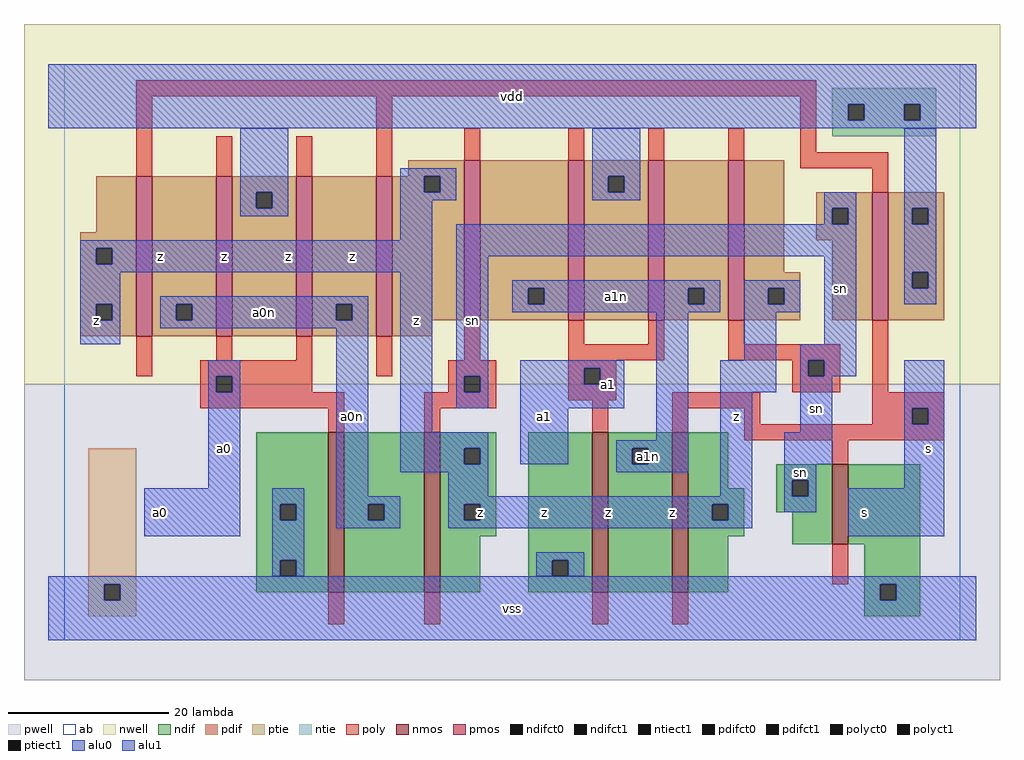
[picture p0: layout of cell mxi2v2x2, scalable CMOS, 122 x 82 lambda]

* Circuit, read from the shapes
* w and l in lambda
.subckt mxi2v2x2 a0 a0n a1 a1n s sn vdd vss z
M1 a0n a0 vss vss nfet w=20 l=2
M2 z sn a0n vss nfet w=20 l=2
M3 a1n a1 vss vss nfet w=20 l=2
M4 z s a1n vss nfet w=20 l=2
M5 vss s sn vss nfet w=10 l=2
M6 a0n s z vdd pfet w=20 l=2 m=2
M7 vdd a0 a0n vdd pfet w=20 l=2 m=2
M8 a1n sn z vdd pfet w=20 l=2 m=2
M9 vdd a1 a1n vdd pfet w=20 l=2 m=2
M10 vdd s sn vdd pfet w=16 l=2
.ends

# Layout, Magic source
magic
tech scmos
<< ab >>
rect 0 0 112 72
<< nwell >>
rect -5 32 117 77
<< pwell >>
rect -5 -5 117 32
<< poly >>
rect 9 68 94 70
rect 9 58 11 68
rect 19 58 21 63
rect 29 58 31 63
rect 39 58 41 68
rect 50 60 52 64
rect 63 60 65 64
rect 73 60 75 64
rect 83 60 85 64
rect 92 61 94 68
rect 92 59 103 61
rect 101 56 103 59
rect 9 33 11 38
rect 19 35 21 38
rect 29 35 31 38
rect 17 33 31 35
rect 39 33 41 38
rect 50 35 52 40
rect 63 37 65 40
rect 73 37 75 40
rect 63 35 75 37
rect 83 37 85 40
rect 83 35 97 37
rect 48 33 54 35
rect 17 31 19 33
rect 21 31 31 33
rect 48 31 50 33
rect 52 31 54 33
rect 17 29 35 31
rect 33 26 35 29
rect 45 29 54 31
rect 63 34 69 35
rect 63 32 65 34
rect 67 32 69 34
rect 63 30 69 32
rect 91 33 93 35
rect 95 33 97 35
rect 91 31 97 33
rect 101 31 103 40
rect 45 26 47 29
rect 66 26 68 30
rect 76 29 87 31
rect 76 26 78 29
rect 85 27 87 29
rect 101 29 110 31
rect 101 27 106 29
rect 108 27 110 29
rect 85 25 110 27
rect 96 22 98 25
rect 96 7 98 12
rect 33 2 35 6
rect 45 2 47 6
rect 66 2 68 6
rect 76 2 78 6
<< ndif >>
rect 24 17 33 26
rect 24 15 27 17
rect 29 15 33 17
rect 24 10 33 15
rect 24 8 27 10
rect 29 8 33 10
rect 24 6 33 8
rect 35 17 45 26
rect 35 15 38 17
rect 40 15 45 17
rect 35 6 45 15
rect 47 24 54 26
rect 47 22 50 24
rect 52 22 54 24
rect 47 17 54 22
rect 47 15 50 17
rect 52 15 54 17
rect 47 13 54 15
rect 47 6 52 13
rect 58 10 66 26
rect 58 8 61 10
rect 63 8 66 10
rect 58 6 66 8
rect 68 24 76 26
rect 68 22 71 24
rect 73 22 76 24
rect 68 6 76 22
rect 78 19 83 26
rect 89 20 96 22
rect 78 17 85 19
rect 78 15 81 17
rect 83 15 85 17
rect 89 18 91 20
rect 93 18 96 20
rect 89 16 96 18
rect 78 13 85 15
rect 78 6 83 13
rect 91 12 96 16
rect 98 12 107 22
rect 100 7 107 12
rect 100 5 102 7
rect 104 5 107 7
rect 100 3 107 5
<< pdif >>
rect 43 58 50 60
rect 4 51 9 58
rect 2 49 9 51
rect 2 47 4 49
rect 6 47 9 49
rect 2 42 9 47
rect 2 40 4 42
rect 6 40 9 42
rect 2 38 9 40
rect 11 42 19 58
rect 11 40 14 42
rect 16 40 19 42
rect 11 38 19 40
rect 21 56 29 58
rect 21 54 24 56
rect 26 54 29 56
rect 21 38 29 54
rect 31 42 39 58
rect 31 40 34 42
rect 36 40 39 42
rect 31 38 39 40
rect 41 56 45 58
rect 47 56 50 58
rect 41 40 50 56
rect 52 44 63 60
rect 52 42 58 44
rect 60 42 63 44
rect 52 40 63 42
rect 65 58 73 60
rect 65 56 68 58
rect 70 56 73 58
rect 65 40 73 56
rect 75 44 83 60
rect 75 42 78 44
rect 80 42 83 44
rect 75 40 83 42
rect 85 46 90 60
rect 94 54 101 56
rect 94 52 96 54
rect 98 52 101 54
rect 94 50 101 52
rect 85 44 92 46
rect 85 42 88 44
rect 90 42 92 44
rect 85 40 92 42
rect 96 40 101 50
rect 103 54 110 56
rect 103 52 106 54
rect 108 52 110 54
rect 103 46 110 52
rect 103 44 106 46
rect 108 44 110 46
rect 103 40 110 44
rect 41 38 46 40
<< alu1 >>
rect -2 67 114 72
rect -2 65 98 67
rect 100 65 105 67
rect 107 65 114 67
rect -2 64 114 65
rect 42 58 49 59
rect 42 56 45 58
rect 47 56 49 58
rect 42 55 49 56
rect 42 50 46 55
rect 2 49 46 50
rect 2 47 4 49
rect 6 47 46 49
rect 2 46 46 47
rect 2 42 7 46
rect 2 40 4 42
rect 6 40 7 42
rect 2 37 7 40
rect 18 33 22 35
rect 18 31 19 33
rect 21 31 22 33
rect 18 19 22 31
rect 10 13 22 19
rect 42 26 46 46
rect 85 44 92 45
rect 85 42 88 44
rect 90 42 92 44
rect 85 41 92 42
rect 57 34 70 35
rect 57 32 65 34
rect 67 32 70 34
rect 57 29 70 32
rect 42 24 53 26
rect 42 22 50 24
rect 52 22 53 24
rect 57 22 63 29
rect 85 35 89 41
rect 42 21 53 22
rect 82 31 89 35
rect 48 18 53 21
rect 82 18 86 31
rect 48 17 86 18
rect 48 15 50 17
rect 52 15 81 17
rect 83 15 86 17
rect 105 29 110 35
rect 105 27 106 29
rect 108 27 110 29
rect 105 19 110 27
rect 48 14 86 15
rect 98 13 110 19
rect -2 7 114 8
rect -2 5 5 7
rect 7 5 102 7
rect 104 5 114 7
rect -2 0 114 5
<< ptie >>
rect 3 7 9 24
rect 3 5 5 7
rect 7 5 9 7
rect 3 3 9 5
<< ntie >>
rect 96 67 109 69
rect 96 65 98 67
rect 100 65 105 67
rect 107 65 109 67
rect 96 63 109 65
<< nmos >>
rect 33 6 35 26
rect 45 6 47 26
rect 66 6 68 26
rect 76 6 78 26
rect 96 12 98 22
<< pmos >>
rect 9 38 11 58
rect 19 38 21 58
rect 29 38 31 58
rect 39 38 41 58
rect 50 40 52 60
rect 63 40 65 60
rect 73 40 75 60
rect 83 40 85 60
rect 101 40 103 56
<< polyct0 >>
rect 50 31 52 33
rect 93 33 95 35
<< polyct1 >>
rect 19 31 21 33
rect 65 32 67 34
rect 106 27 108 29
<< ndifct0 >>
rect 27 15 29 17
rect 27 8 29 10
rect 38 15 40 17
rect 61 8 63 10
rect 71 22 73 24
rect 91 18 93 20
<< ndifct1 >>
rect 50 22 52 24
rect 50 15 52 17
rect 81 15 83 17
rect 102 5 104 7
<< ntiect1 >>
rect 98 65 100 67
rect 105 65 107 67
<< ptiect1 >>
rect 5 5 7 7
<< pdifct0 >>
rect 14 40 16 42
rect 24 54 26 56
rect 34 40 36 42
rect 58 42 60 44
rect 68 56 70 58
rect 78 42 80 44
rect 96 52 98 54
rect 106 52 108 54
rect 106 44 108 46
<< pdifct1 >>
rect 4 47 6 49
rect 4 40 6 42
rect 45 56 47 58
rect 88 42 90 44
<< alu0 >>
rect 22 56 28 64
rect 22 54 24 56
rect 26 54 28 56
rect 22 53 28 54
rect 66 58 72 64
rect 66 56 68 58
rect 70 56 72 58
rect 66 55 72 56
rect 95 54 99 56
rect 95 52 96 54
rect 98 52 99 54
rect 12 42 38 43
rect 12 40 14 42
rect 16 40 34 42
rect 36 40 38 42
rect 12 39 38 40
rect 26 17 30 19
rect 26 15 27 17
rect 29 15 30 17
rect 26 10 30 15
rect 34 18 38 39
rect 49 48 99 52
rect 49 33 53 48
rect 56 44 82 45
rect 56 42 58 44
rect 60 42 78 44
rect 80 42 82 44
rect 56 41 82 42
rect 49 31 50 33
rect 52 31 53 33
rect 49 29 53 31
rect 74 25 78 41
rect 95 37 99 48
rect 105 54 109 64
rect 105 52 106 54
rect 108 52 109 54
rect 105 46 109 52
rect 105 44 106 46
rect 108 44 109 46
rect 105 42 109 44
rect 69 24 78 25
rect 69 22 71 24
rect 73 22 78 24
rect 69 21 78 22
rect 92 35 99 37
rect 92 33 93 35
rect 95 33 99 35
rect 92 26 96 33
rect 34 17 42 18
rect 34 15 38 17
rect 40 15 42 17
rect 34 14 42 15
rect 90 22 96 26
rect 90 20 94 22
rect 90 18 91 20
rect 93 18 94 20
rect 90 16 94 18
rect 26 8 27 10
rect 29 8 30 10
rect 59 10 65 11
rect 59 8 61 10
rect 63 8 65 10
<< labels >>
rlabel alu0 51 40 51 40 6 sn
rlabel alu0 36 28 36 28 6 a0n
rlabel alu0 25 41 25 41 6 a0n
rlabel alu0 73 23 73 23 6 a1n
rlabel alu0 69 43 69 43 6 a1n
rlabel alu0 92 21 92 21 6 sn
rlabel alu0 94 29 94 29 6 sn
rlabel alu0 97 44 97 44 6 sn
rlabel alu1 12 16 12 16 6 a0
rlabel alu1 20 24 20 24 6 a0
rlabel alu1 4 40 4 40 6 z
rlabel alu1 20 48 20 48 6 z
rlabel alu1 12 48 12 48 6 z
rlabel alu1 52 16 52 16 6 z
rlabel alu1 44 40 44 40 6 z
rlabel alu1 28 48 28 48 6 z
rlabel alu1 36 48 36 48 6 z
rlabel alu1 56 4 56 4 6 vss
rlabel alu1 76 16 76 16 6 z
rlabel alu1 68 16 68 16 6 z
rlabel alu1 60 16 60 16 6 z
rlabel alu1 60 28 60 28 6 a1
rlabel alu1 68 32 68 32 6 a1
rlabel alu1 56 68 56 68 6 vdd
rlabel alu1 100 16 100 16 6 s
rlabel alu1 84 28 84 28 6 z
rlabel alu1 108 24 108 24 6 s
<< end >>
